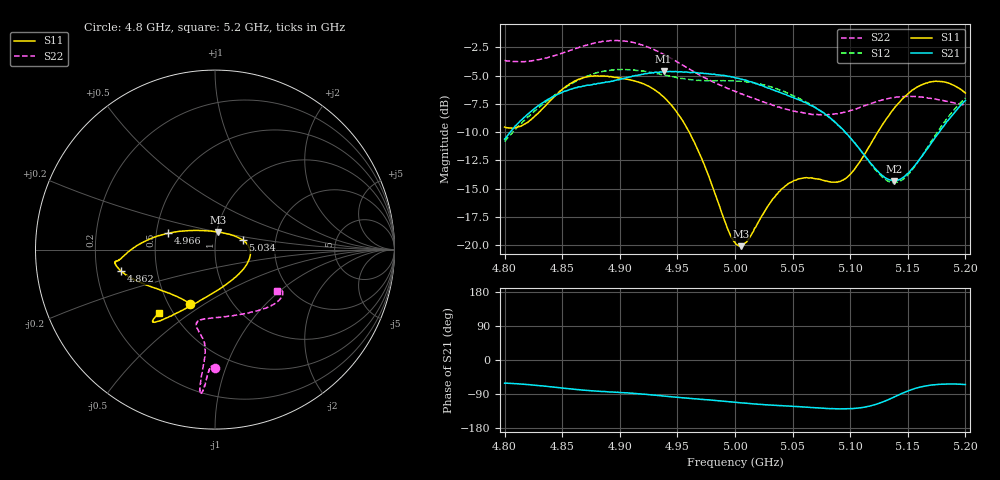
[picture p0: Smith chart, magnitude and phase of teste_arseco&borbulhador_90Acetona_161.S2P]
! Network Analyzer HP8722D
! Hewlett-Packard
! Data name: Linha & Wilkinson
! Saver's name: Rodrigo Anjos
! Comments: Teste da utilização de aquisição
! continua pelo VNA HP8722D
! Time and date: 17/4/2025 12:23
!  Frequency  S11  S21  S12  S22
# HZ  S  MA R 50
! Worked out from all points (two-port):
!   401 points, 4.8 GHz to 5.2 GHz, reference 50 ohm
!   highest |S21| = -4.62 dB at 4.938 GHz (marker M1); lowest = -14.3 dB at 5.138 GHz (marker M2)
!   |S21| within 3 dB of the highest: 4.83 GHz to 5.065 GHz (235.8 MHz wide, 4.77 % of centre); 5.195943 GHz to end of sweep
!   lowest |S11| = -20.1 dB at 5.005 GHz (marker M3), VSWR 1.22, Z = 50.8 + j10 ohm
!   |S11| at or under -10 dB: 4.96 GHz to 5.124 GHz (163.6 MHz wide, 3.24 % of centre)
!   |S22| runs from -8.5 to -1.9 dB; largest |S21 - S12| = 0.88
!   S11 on the Smith chart (normalised r, x): 4.8 GHz: 0.64, -0.44; 4.862 GHz: 0.31, -0.10; 4.966 GHz: 0.58, +0.11; 5.034 GHz: 1.35, +0.15; 5.2 GHz: 0.42, -0.38
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4.8e9  0.3335 -114.4  0.2949 -61.3  0.2876 -175.5  0.6574 -90.1
4.819e9  0.3476 -134.4  0.3757 -64.6  0.3639 -174.1  0.6516 -91.8
4.862e9  0.5357 -167.0  0.4983 -77.7  0.5308 -177.5  0.7426 -94.1
4.867e9  0.5477 -168.9  0.5034 -79.2  0.5457 -178.4  0.7568 -94.3
4.899e9  0.5494 -173.4  0.5393 -85.7  0.599 175.0  0.8029 -95.7
4.934e9  0.4726 -179.5  0.5821 -93.9  0.573 171.4  0.7159 -96.1
4.938e9  0.4537 178.6  0.5874 -95.1  0.5661 171.3  0.6997 -96.0
4.953e9  0.3656 170.6  0.5855 -99.1  0.5466 172.0  0.6342 -95.6
4.966e9  0.2762 160.9  0.5803 -102.5  0.538 173.5  0.5777 -95.4
5e9  0.1028 97.2  0.5509 -111.6  0.5331 175.7  0.4796 -99.7
5.005e9  0.09911 79.8  0.5432 -113.0  0.5311 175.6  0.467 -100.8
5.012e9  0.1068 57.9  0.5297 -114.7  0.5266 175.6  0.455 -102.2
5.034e9  0.1625 19.2  0.4845 -119.6  0.4957 174.5  0.4147 -103.9
5.049e9  0.1901 4.0  0.4524 -122.2  0.4624 173.7  0.3947 -100.0
5.067e9  0.1985 -14.9  0.4134 -125.5  0.4156 173.2  0.3788 -90.7
5.087e9  0.1902 -47.2  0.3504 -128.7  0.3489 173.4  0.3812 -75.5
5.097e9  0.1993 -67.9  0.3113 -128.9  0.3112 174.4  0.3902 -67.2
5.134e9  0.378 -117.8  0.1947 -103.4  0.1909 -156.2  0.4468 -43.2
5.138e9  0.4027 -120.1  0.1928 -97.8  0.1894 -149.9  0.4504 -41.4
5.15e9  0.467 -125.4  0.2078 -82.1  0.2044 -131.6  0.4556 -37.0
5.17e9  0.5282 -130.0  0.2811 -66.3  0.2861 -112.6  0.4467 -32.3
5.2e9  0.4715 -131.6  0.4363 -64.9  0.448 -107.0  0.4164 -33.8
